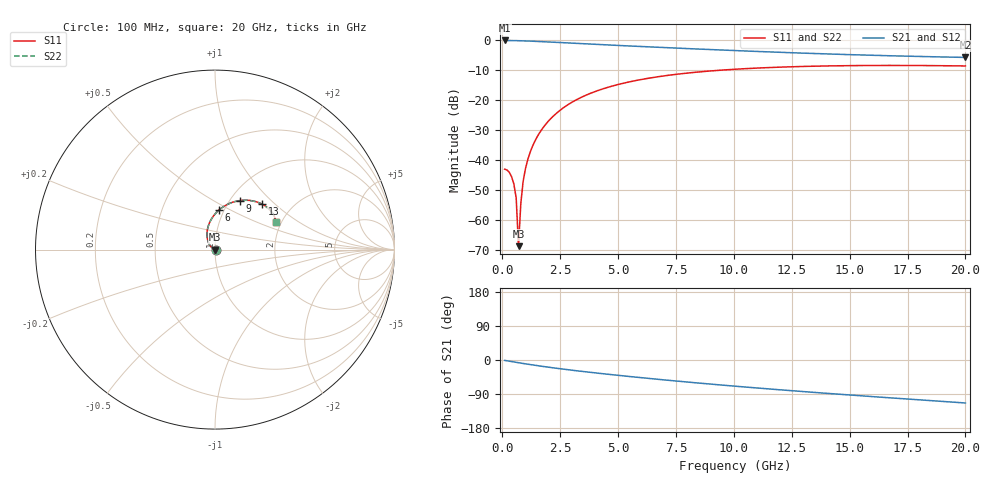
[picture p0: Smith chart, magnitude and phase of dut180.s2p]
! Touchstone file exported from HFSS 2024.1.0
!  File:  C:/UserFiles/LocalFiles/RDL_TSV_Batchsim/temp_RDL_TSV_180_1779438663.aedt
!  Generated:  04:46:35 PM May 22, 2026
!  Design:  RDL_TSV
!  Project:  temp_RDL_TSV_180_1779438663
!  Setup:  Setup1
!  Solution:  Sweep
! Variables:
!  dtsv = 7.96um
!  hbump = 3um
!  htsv = 62.96um
!  ldown = 307.82um
!  lrdl = 133.37um
!  p = 40
!  p1 = 53.84um
!  rhole = 10um
!  subl = 1456.94um
!  t = 450um
!  tdown = 4.81um
!  trdl = 4.31um
!  viad = 10um
!  wdown = 29.9um
!  wrdl = 12.04um
!  xbump = 18um
# GHz S MA R 50.000000
! Terminal data exported
! Port[1] = TM1_1_T1
! Port[2] = TM1_4_T1
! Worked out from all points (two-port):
!   200 points, 100 MHz to 20 GHz, reference 50 ohm
!   highest |S21| = -0.06 dB at 100 MHz (marker M1); lowest = -5.7 dB at 20 GHz (marker M2)
!   |S21| within 3 dB of the highest: start of sweep to 8.848 GHz
!   lowest |S11| = -68.8 dB at 700 MHz (marker M3), VSWR 1.00, Z = 50 - j0.0101 ohm
!   |S11| at or under -10 dB: start of sweep to 9.434 GHz
!   |S22| runs from -68.7 to -8.4 dB; largest |S21 - S12| = 4.3e-14
!   S11 on the Smith chart (normalised r, x): 100 MHz: 1.01, +0.00; 6 GHz: 0.95, +0.44; 9 GHz: 1.11, +0.67; 13 GHz: 1.43, +0.83; 20 GHz: 1.87, +0.66
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0.1  0.007005 0.1  0.9926 -1.1  0.9926 -1.1  0.007005 0.1
! Gamma 0 0 0 0
! Port Impedance 50 0 50 0
0.3  0.006221 -3.6  0.9909 -3.1  0.9909 -3.1  0.006222 -3.6
0.5  0.003953 -9.1  0.9879 -5.2  0.9879 -5.2  0.003956 -9.1
0.6  0.00231 -11.9  0.9858 -6.2  0.9858 -6.2  0.002315 -11.9
0.7  0.0003617 -16.2  0.9835 -7.2  0.9835 -7.2  0.000369 -16.0
0.8  0.001873 163.5  0.9809 -8.2  0.9809 -8.2  0.001863 163.4
0.9  0.004375 160.7  0.9781 -9.2  0.9781 -9.2  0.004363 160.7
1  0.007128 158.2  0.975 -10.1  0.975 -10.1  0.007113 158.2
1.1  0.01012 155.8  0.9718 -11.1  0.9718 -11.1  0.0101 155.8
1.3  0.01673 151.1  0.9647 -12.9  0.9647 -12.9  0.0167 151.1
1.7  0.03204 142.5  0.9492 -16.5  0.9492 -16.5  0.032 142.4
2.2  0.05389 132.7  0.9282 -20.7  0.9282 -20.7  0.05382 132.7
3.5  0.1154 111.9  0.8745 -30.5  0.8745 -30.5  0.1153 111.9
4.6  0.1653 98.3  0.8333 -37.9  0.8333 -37.9  0.1651 98.3
6  0.2208 84.5  0.7861 -46.7  0.7861 -46.7  0.2206 84.5
6.8  0.2481 77.9  0.7611 -51.4  0.7611 -51.4  0.2478 77.8
9  0.3071 62.9  0.6987 -63.7  0.6987 -63.7  0.3067 62.9
10.1  0.3287 56.8  0.671 -69.4  0.671 -69.4  0.3283 56.8
13  0.3652 43.8  0.6089 -83.4  0.6089 -83.4  0.3646 43.7
13.4  0.3682 42.2  0.6016 -85.2  0.6016 -85.2  0.3677 42.2
16.7  0.3796 31.7  0.5513 -99.7  0.5513 -99.7  0.379 31.7
20  0.3719 24.3  0.5168 -113.4  0.5168 -113.4  0.3712 24.2
